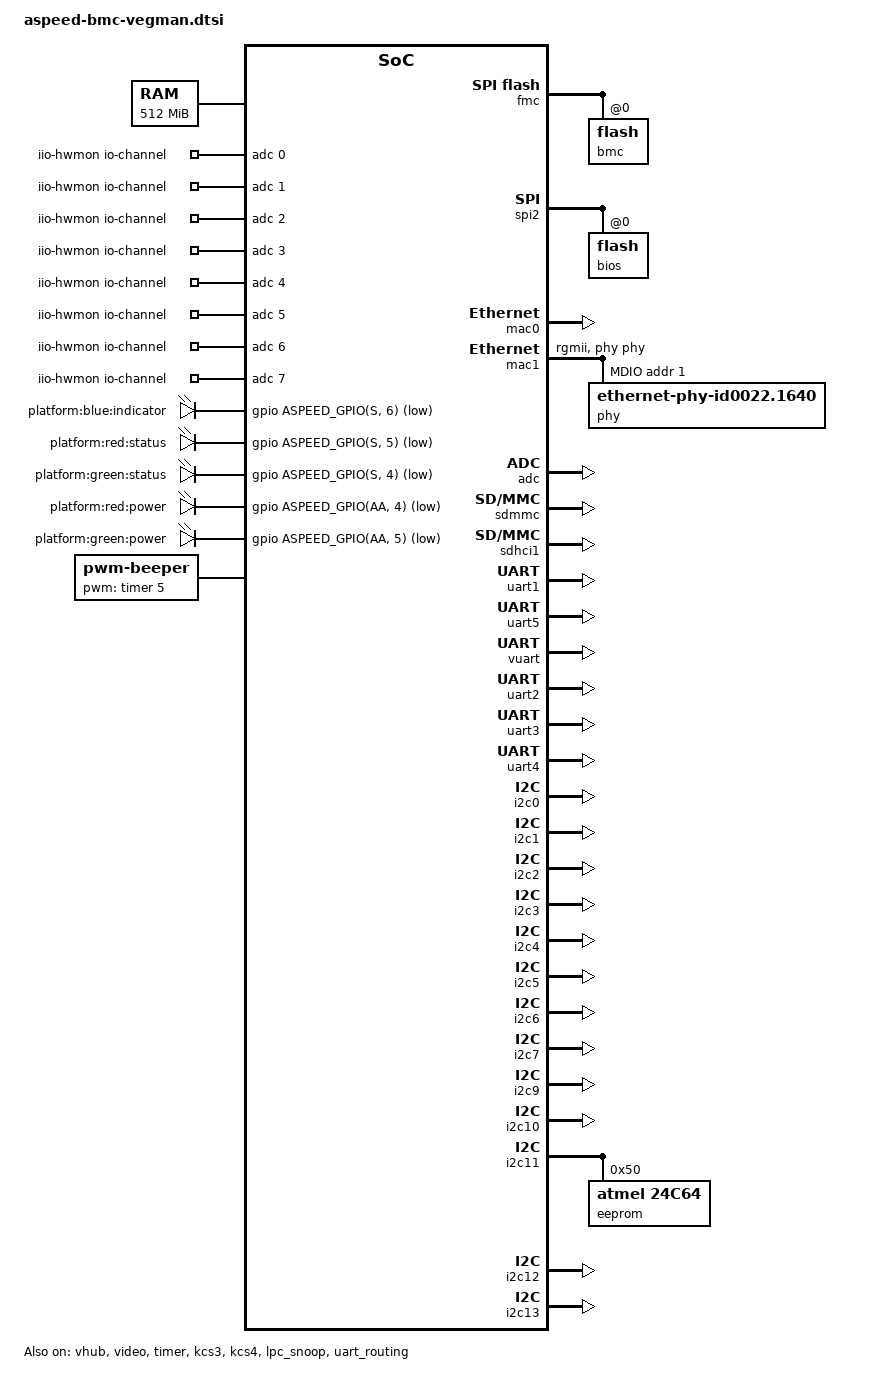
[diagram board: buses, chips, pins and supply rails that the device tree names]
// SPDX-License-Identifier: GPL-2.0+
// Copyright (C) 2021 YADRO

#include "aspeed-g5.dtsi"
#include <dt-bindings/gpio/aspeed-gpio.h>

/ {
	aliases {
		serial4 = &uart5;
	};

	chosen {
		stdout-path = &uart5;
		bootargs = "console=ttyS4,115200 earlyprintk";
	};

	memory@80000000 {
		reg = <0x80000000 0x20000000>;
	};

	reserved-memory {
		#address-cells = <1>;
		#size-cells = <1>;
		ranges;

		video_engine_memory: jpegbuffer {
			size = <0x02000000>;	/* 32M */
			alignment = <0x01000000>;
			compatible = "shared-dma-pool";
			reusable;
		};

		ramoops@9eff0000{
			compatible = "ramoops";
			reg = <0x9eff0000 0x10000>;
			record-size = <0x2000>;
			console-size = <0x2000>;
		};
	};

	iio-hwmon {
		compatible = "iio-hwmon";
		io-channels = <&adc 0>, <&adc 1>, <&adc 2>, <&adc 3>,
			<&adc 4>, <&adc 5>, <&adc 6>, <&adc 7>,
			<&adc 8>, <&adc 9>, <&adc 10>, <&adc 11>,
			<&adc 12>, <&adc 13>, <&adc 14>, <&adc 15>;
	};

	leds {
		compatible = "gpio-leds";

		identify {
			label = "platform:blue:indicator";
			linux,default-trigger = "heartbeat";
			gpios = <&gpio ASPEED_GPIO(S, 6) GPIO_ACTIVE_LOW>;
		};

		status_amber {
			label = "platform:red:status";
			default-state = "off";
			gpios = <&gpio ASPEED_GPIO(S, 5) GPIO_ACTIVE_LOW>;
		};

		status_green {
			label = "platform:green:status";
			default-state = "off";
			gpios = <&gpio ASPEED_GPIO(S, 4) GPIO_ACTIVE_LOW>;
		};

		power_fault {
			label = "platform:red:power";
			default-state = "off";
			gpios = <&gpio ASPEED_GPIO(AA, 4) GPIO_ACTIVE_LOW>;
		};

		power_ok {
			label = "platform:green:power";
			default-state = "off";
			gpios = <&gpio ASPEED_GPIO(AA, 5) GPIO_ACTIVE_LOW>;
		};
	};

	beeper {
		compatible = "pwm-beeper";
		pwms = <&timer 5 1000000 0>;
	};
};

&fmc {
	status = "okay";
	flash@0 {
		status = "okay";
		label = "bmc";
		m25p,fast-read;
#include "openbmc-flash-layout-64.dtsi"
	};
};

&spi2 {
	status = "okay";
	pinctrl-names = "default";
	pinctrl-0 = <&pinctrl_spi2ck_default
			&pinctrl_spi2miso_default
			&pinctrl_spi2mosi_default
			&pinctrl_spi2cs0_default>;
	flash@0 {
		status = "okay";
		label = "bios";
		m25p,fast-read;
	};
};

&mac0 {
	status = "okay";
	use-ncsi;

	pinctrl-names = "default";
	pinctrl-0 = <&pinctrl_rmii1_default>;
};

&mac1 {
	status = "okay";

	pinctrl-names = "default";
	pinctrl-0 = <&pinctrl_rgmii2_default &pinctrl_mdio2_default>;

	phy-mode = "rgmii";
	phy-handle = <&phy>;
	mdio {
		#address-cells = <1>;
		#size-cells = <0>;

		phy: ethernet-phy@1 {
			/* KSZ9131 */
			compatible = "ethernet-phy-id0022.1640";
			reg = <1>;

			micrel,led-mode = <0>;
		};
	};
};

&vhub {
	status = "okay";
};

&adc {
	status = "okay";
};

&video {
	status = "okay";
	memory-region = <&video_engine_memory>;
};

&sdmmc {
	status = "okay";
};

&sdhci1 {
	status = "okay";

	pinctrl-names = "default";
	pinctrl-0 = <&pinctrl_sd2_default>;
	disable-wp;
};

&timer {
	fttmr010,pwm-outputs = <5>;
	pinctrl-names = "default";
	pinctrl-0 = <&pinctrl_timer5_default>;
	#pwm-cells = <3>;
	status = "okay";
};

&uart1 {
	status = "okay";
	pinctrl-names = "default";
	pinctrl-0 = <&pinctrl_txd1_default
			&pinctrl_rxd1_default
			&pinctrl_nrts1_default
			&pinctrl_ndtr1_default
			&pinctrl_ndsr1_default
			&pinctrl_ncts1_default
			&pinctrl_ndcd1_default
			&pinctrl_nri1_default>;
};

&uart5 {
	status = "okay";
};

&vuart {
	status = "okay";
};

&kcs3 {
	aspeed,lpc-io-reg = <0xCA2>;
	status = "okay";
};

&kcs4 {
	aspeed,lpc-io-reg = <0xCA4>;
	status = "okay";
};

&lpc_snoop {
	snoop-ports = <0x80>;
	status = "okay";
};

&uart_routing {
	status = "okay";
};

&uart2 {
	status = "okay";
	pinctrl-names = "default";
	pinctrl-0 = <>;
};

&uart3 {
	status = "okay";
	pinctrl-names = "default";
	pinctrl-0 = <>;
};

&uart4 {
	status = "okay";
	pinctrl-names = "default";
	pinctrl-0 = <>;
};

&i2c0 {
	/* SMB_IPMB_STBY_LVC3 */
	multi-master;
	status = "okay";
};

&i2c1 {
	/* SMB_CHASSENSOR_STBY_LVC3 */
	status = "okay";
};

&i2c2 {
	/* SMB_PCIE_STBY_LVC3 */
	status = "okay";
};

&i2c3 {
	/* SMB_HOST_STBY_LVC3 */
	multi-master;
	status = "okay";
};

&i2c4 {
	/* BMC_PMBUS2_STBY */
	status = "okay";
};

&i2c5 {
	/* SMB_SMLINK0_STBY_LVC3 */
	bus-frequency = <1000000>;
	multi-master;
	status = "okay";
};

&i2c6 {
	/* SMB_TEMPSENSOR_STBY_LVC3 */
	multi-master;
	status = "okay";
};

&i2c7 {
	/* SMB_SM_PMB1_SML1_STBY_LVC3 */
	multi-master;
	status = "okay";
};

&i2c9 {
	/* SMB_BMC_ETH3_LVC3 */
	status = "okay";
};

&i2c10 {
	/* SMB_BMC_ETH2_LVC3 */
	status = "okay";
};

&i2c11 {
	/* SMB_BMC_MGMT_LVC3 */
	status = "okay";

	eeprom@50 {
		compatible = "atmel,24c64";
		reg = <0x50>;
		pagesize = <32>;
		size = <8192>;
		address-width = <16>;
	};
};

&i2c12 {
	/* SMB_BMC_FAULT_EXP_LVC3 */
	status = "okay";
};

&i2c13 {
	/* SMB_PCIE2_STBY_LVC3 */
	status = "okay";
};
